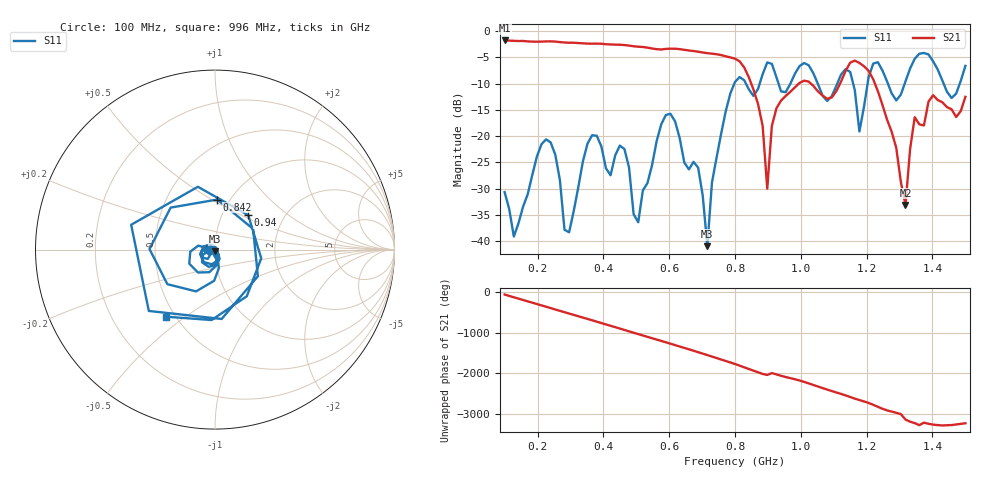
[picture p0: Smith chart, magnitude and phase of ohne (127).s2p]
! NanoVNA-App
! Date: 2025-09-25 14:21:47
! Start: 100MHz Stop: 1,5GHz Points: 101
! S-Parameter data: F S11 S21 S12 S22
# Hz S RI R 50
!  Frequency  S11_Real  S11_Imag  S21_Real  S21_Imag  S12_Real  S12_Imag  S22_Real  S22_Imag
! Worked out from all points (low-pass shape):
!   101 points, 100 MHz to 1.5 GHz, reference 50 ohm
!   highest |S21| = -1.79 dB at 100 MHz (marker M1); lowest = -33.1 dB at 1.318 GHz (marker M2)
!   |S21| within 3 dB of the highest: start of sweep to 771.3 MHz
!   lowest |S11| = -40.9 dB at 716 MHz (marker M3), VSWR 1.02, Z = 49.9 - j0.886 ohm
!   |S11| at or under -10 dB: start of sweep to 798 MHz; 833.2 MHz to 875.1 MHz (41.89 MHz wide, 4.9 % of centre); 1.052 GHz to 1.111 GHz (59.2 MHz wide, 5.48 % of centre) (the widest 3 of 7)
!   S12 and S22 are empty: the file has one direction only
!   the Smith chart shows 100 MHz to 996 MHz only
!   S11 on the Smith chart (normalised r, x): 100 MHz: 0.94, -0.01; 842 MHz: 0.88, +0.53; 940 MHz: 1.33, +0.55; 996 MHz: 0.45, -0.42
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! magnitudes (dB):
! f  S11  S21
! 100 MHz  -30.6  -1.8
! 128 MHz  -39.1  -1.9
! 226 MHz  -20.6  -2.0
! 296 MHz  -38.3  -2.2
! 338 MHz  -24.8  -2.3
! 464 MHz  -22.4  -2.7
! 506 MHz  -36.4  -3.0
! 576 MHz  -17.7  -3.5
! 688 MHz  -26.0  -3.9
! 716 MHz  -40.9  -4.2
! 800 MHz  -9.7  -5.3
! 842 MHz  -11.1  -8.8
! 898 MHz  -6.0  -30.0
! 940 MHz  -11.5  -13.2
! 996 MHz  -6.7  -9.9
! 1.038 GHz  -8.0  -10.4
! 1.178 GHz  -19.1  -6.1
! 1.22 GHz  -6.2  -9.2
! 1.276 GHz  -11.9  -19.2
! 1.318 GHz  -9.6  -33.1
! 1.346 GHz  -5.3  -16.4
! 1.5 GHz  -6.6  -12.5
